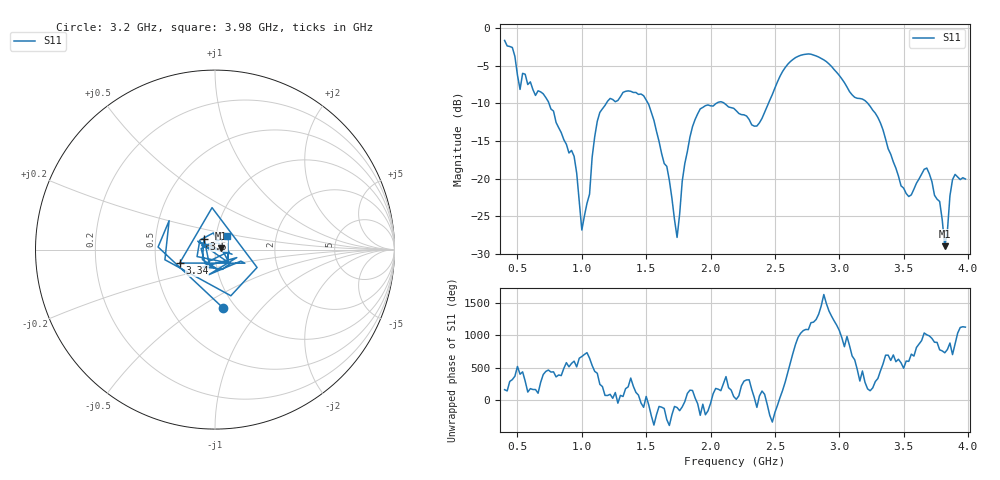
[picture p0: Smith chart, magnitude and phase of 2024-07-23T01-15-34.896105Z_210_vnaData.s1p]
!Created with skrf (http://scikit-rf.org).
# Hz S RI R 50.0
!freq ReS11 ImS11
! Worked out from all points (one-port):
!   180 points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, 400 MHz to 3.98 GHz, reference 50 ohm
!   lowest |S11| = -29.0 dB at 3.82 GHz (marker M1), VSWR 1.07, Z = 53.6 + j0.888 ohm
!   |S11| at or under -10 dB: 744.4 MHz to 1.19 GHz (445.7 MHz wide, 46.1 % of centre); 1.514 GHz to 2.046 GHz (531.2 MHz wide, 29.8 % of centre); 3.222 GHz to end of sweep (the widest 3 of 4)
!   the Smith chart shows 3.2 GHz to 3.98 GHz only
!   S11 on the Smith chart (normalised r, x): 3.2 GHz: 0.88, -0.64; 3.34 GHz: 0.66, -0.10; 3.5 GHz: 0.88, +0.11; 3.98 GHz: 1.13, +0.17
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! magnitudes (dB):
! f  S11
! 400 MHz  -1.7
! 520 MHz  -8.2
! 700 MHz  -8.7
! 860 MHz  -14.8
! 940 MHz  -17.0
! 1 GHz  -26.8
! 1.06 GHz  -22.1
! 1.12 GHz  -12.4
! 1.3 GHz  -9.1
! 1.52 GHz  -10.2
! 1.66 GHz  -18.4
! 1.74 GHz  -27.8
! 1.76 GHz  -24.7
! 1.84 GHz  -14.5
! 1.92 GHz  -10.7
! 2.2 GHz  -11.0
! 2.36 GHz  -13.0
! 2.64 GHz  -4.2
! 3.1 GHz  -8.9
! 3.2 GHz  -9.6
! 3.34 GHz  -13.5
! 3.5 GHz  -21.2
! 3.54 GHz  -22.4
! 3.68 GHz  -18.6
! 3.78 GHz  -23.0
! 3.82 GHz  -29.0
! 3.88 GHz  -20.1
! 3.98 GHz  -20.0
